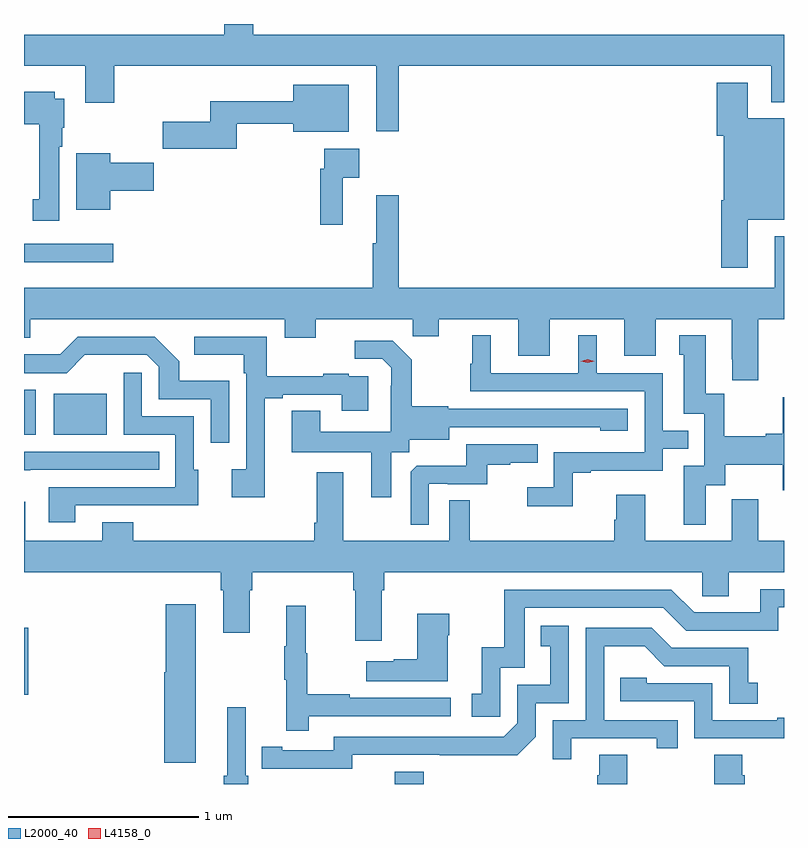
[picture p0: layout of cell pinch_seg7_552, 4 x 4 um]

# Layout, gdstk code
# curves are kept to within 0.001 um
import gdstk
lib = gdstk.Library(unit=1e-6, precision=1e-09)
def R(c, l, rs):  # rectangles x0, y0, x1, y1
    for r in rs: c.add(gdstk.rectangle(r[:2], r[2:], *l))
def P(c, l, *ps):  # polygons
    for p in ps: c.add(gdstk.Polygon(p, *l))
L2000_40 = (2000, 40)
L4158_0 = (4158, 0)

pinch_seg7_552 = lib.new_cell('pinch_seg7_552')
R(pinch_seg7_552, L2000_40, [(148.796,1047.453,148.949,1047.517), (146.845,1047.923,146.867,1048.276), (146.845,1049.291,146.908,1049.527), (147.002,1049.291,147.28,1049.506), (146.845,1050.2,147.316,1050.297)])
P(pinch_seg7_552, L2000_40, [(148.817,1051.232),(150.779,1051.232),(150.779,1051.042),(150.845,1051.042),(150.845,1051.396),(148.051,1051.396),(148.051,1051.453),(147.899,1051.453),(147.899,1051.396),(146.845,1051.396),(146.845,1051.232),(147.167,1051.232),(147.167,1051.038),(147.32,1051.038),(147.32,1051.232),(148.7,1051.232),(148.7,1050.888),(148.817,1050.888)],
  [(150.655,1050.422),(150.845,1050.422),(150.845,1050.957),(150.655,1050.957),(150.655,1051.144),(150.491,1051.144),(150.491,1050.864),(150.527,1050.864),(150.527,1050.526),(150.515,1050.526),(150.515,1050.171),(150.655,1050.171)],
  [(147.964,1050.928),(148.262,1050.928),(148.262,1050.887),(148.555,1050.887),(148.555,1051.132),(148.262,1051.132),(148.262,1051.046),(147.824,1051.046),(147.824,1050.939),(147.576,1050.939),(147.576,1050.797),(147.964,1050.797)],
  [(147.031,1050.806),(147.046,1050.806),(147.046,1050.906),(147.058,1050.906),(147.058,1051.06),(147.007,1051.06),(147.007,1051.096),(146.845,1051.096),(146.845,1050.926),(146.924,1050.926),(146.924,1050.53),(146.891,1050.53),(146.891,1050.417),(147.031,1050.417)],
  [(148.523,1050.644),(148.609,1050.644),(148.609,1050.796),(148.425,1050.796),(148.425,1050.692),(148.405,1050.692),(148.405,1050.396),(148.523,1050.396)],
  [(147.298,1050.575),(147.529,1050.575),(147.529,1050.722),(147.298,1050.722),(147.298,1050.772),(147.119,1050.772),(147.119,1050.476),(147.298,1050.476)],
  [(150.709,1049.9),(150.845,1049.9),(150.845,1050.337),(150.797,1050.337),(150.797,1050.064),(148.817,1050.064),(148.817,1050.553),(148.7,1050.553),(148.7,1050.3),(148.681,1050.3),(148.681,1050.064),(146.845,1050.064),(146.845,1049.802),(146.878,1049.802),(146.878,1049.9),(148.217,1049.9),(148.217,1049.801),(148.381,1049.801),(148.381,1049.9),(148.891,1049.9),(148.891,1049.81),(149.029,1049.81),(149.029,1049.9),(149.447,1049.9),(149.447,1049.706),(149.611,1049.706),(149.611,1049.9),(150.005,1049.9),(150.005,1049.706),(150.169,1049.706),(150.169,1049.9),(150.569,1049.9),(150.569,1049.689),(150.572,1049.689),(150.572,1049.577),(150.709,1049.577)],
  [(149.733,1049.091),(149.827,1049.091),(149.827,1049.103),(150.207,1049.103),(150.207,1049.217),(150.341,1049.217),(150.341,1049.313),(150.207,1049.313),(150.207,1049.616),(149.86,1049.616),(149.86,1049.815),(149.762,1049.815),(149.762,1049.616),(149.302,1049.616),(149.302,1049.815),(149.204,1049.815),(149.204,1049.664),(149.193,1049.664),(149.193,1049.52),(150.111,1049.52),(150.111,1049.199),(149.634,1049.199),(149.634,1049.014),(149.493,1049.014),(149.493,1048.916),(149.733,1048.916)],
  [(150.433,1049.026),(150.535,1049.026),(150.535,1049.132),(150.838,1049.132),(150.838,1048.998),(150.845,1048.998),(150.845,1049.489),(150.838,1049.489),(150.838,1049.297),(150.749,1049.297),(150.749,1049.284),(150.531,1049.284),(150.531,1049.507),(150.433,1049.507),(150.433,1049.815),(150.293,1049.815),(150.293,1049.712),(150.317,1049.712),(150.317,1049.403),(150.426,1049.403),(150.426,1049.127),(150.317,1049.127),(150.317,1048.818),(150.433,1048.818)],
  [(148.111,1049.484),(148.207,1049.484),(148.207,1049.502),(148.517,1049.502),(148.517,1049.418),(148.657,1049.418),(148.657,1049.598),(148.553,1049.598),(148.553,1049.611),(148.421,1049.611),(148.421,1049.6),(148.123,1049.6),(148.123,1049.808),(147.741,1049.808),(147.741,1049.711),(148.002,1049.711),(148.002,1049.615),(148.014,1049.615),(148.014,1049.11),(147.939,1049.11),(147.939,1048.962),(148.111,1048.962)],
  [(147.924,1049.575),(147.663,1049.575),(147.663,1049.678),(147.532,1049.808),(147.129,1049.808),(147.035,1049.714),(146.845,1049.714),(146.845,1049.616),(147.069,1049.616),(147.164,1049.711),(147.492,1049.712),(147.555,1049.649),(147.555,1049.478),(147.828,1049.478),(147.828,1049.25),(147.924,1049.25)],
  [(148.777,1049.2),(148.872,1049.2),(148.872,1049.264),(149.083,1049.264),(149.083,1049.331),(149.877,1049.33),(149.877,1049.312),(150.022,1049.312),(150.022,1049.427),(149.079,1049.427),(149.079,1049.44),(148.887,1049.44),(148.887,1049.685),(148.787,1049.785),(148.587,1049.785),(148.587,1049.691),(148.731,1049.691),(148.778,1049.644),(148.778,1049.549),(148.776,1049.549),(148.776,1049.308),(148.405,1049.308),(148.405,1049.417),(148.253,1049.417),(148.253,1049.198),(148.673,1049.198),(148.673,1048.962),(148.777,1048.962)],
  [(147.115,1048.92),(147.545,1048.92),(147.545,1048.919),(147.763,1048.919),(147.763,1049.106),(147.738,1049.106),(147.738,1049.388),(147.465,1049.388),(147.465,1049.617),(147.369,1049.617),(147.369,1049.292),(147.642,1049.292),(147.642,1049.016),(146.975,1049.016),(146.975,1048.83),(147.115,1048.83)],
  [(148.974,1049.034),(149.074,1049.034),(149.074,1049.031),(149.282,1049.031),(149.282,1049.133),(149.405,1049.133),(149.405,1049.144),(149.549,1049.144),(149.549,1049.241),(149.172,1049.241),(149.172,1049.129),(148.913,1049.129),(148.881,1049.097),(148.881,1048.817),(148.974,1048.817)],
  [(146.879,1049.106),(147.557,1049.106),(147.557,1049.202),(146.845,1049.202),(146.845,1049.105),(146.879,1049.105)],
  [(146.845,1048.939),(146.845,1048.568),(147.881,1048.568),(147.881,1048.472),(147.893,1048.472),(147.893,1048.248),(148.033,1048.248),(148.033,1048.472),(148.046,1048.472),(148.046,1048.568),(148.577,1048.568),(148.577,1048.472),(148.589,1048.472),(148.589,1048.206),(148.729,1048.206),(148.729,1048.472),(148.742,1048.472),(148.742,1048.568),(150.414,1048.568),(150.414,1048.441),(150.553,1048.441),(150.553,1048.568),(150.845,1048.568),(150.845,1048.732),(150.709,1048.732),(150.709,1048.951),(150.569,1048.951),(150.569,1048.732),(150.115,1048.732),(150.115,1048.975),(149.963,1048.975),(149.963,1048.845),(149.951,1048.845),(149.951,1048.732),(149.191,1048.732),(149.191,1048.946),(149.082,1048.946),(149.082,1048.732),(148.525,1048.732),(148.525,1049.095),(148.385,1049.095),(148.385,1048.828),(148.373,1048.828),(148.373,1048.732),(147.421,1048.732),(147.421,1048.831),(147.257,1048.831),(147.257,1048.732),(146.851,1048.732),(146.851,1048.939)],
  [(149.352,1048.065),(149.481,1048.065),(149.481,1048.38),(150.21,1048.38),(150.33,1048.26),(150.816,1048.26),(150.816,1048.383),(150.845,1048.383),(150.845,1048.479),(150.719,1048.479),(150.719,1048.356),(150.372,1048.356),(150.252,1048.476),(149.373,1048.476),(149.373,1048.174),(149.255,1048.174),(149.255,1047.927),(149.202,1047.927),(149.202,1047.807),(149.352,1047.807)],
  [(147.748,1048.399),(147.59,1048.399),(147.59,1048.041),(147.584,1048.041),(147.584,1047.564),(147.748,1047.564)],
  [(148.343,1047.81),(149.092,1047.81),(149.092,1047.906),(148.559,1047.906),(148.559,1047.926),(148.336,1047.926),(148.336,1048.14),(148.328,1048.14),(148.328,1048.39),(148.226,1048.39),(148.226,1048.177),(148.215,1048.177),(148.215,1048.003),(148.226,1048.003),(148.226,1047.732),(148.343,1047.732)],
  [(149.074,1048.235),(149.082,1048.235),(149.082,1048.348),(148.916,1048.348),(148.916,1048.109),(148.79,1048.109),(148.79,1048.099),(148.647,1048.099),(148.647,1047.995),(149.074,1047.995)],
  [(148.572,1047.606),(149.44,1047.605),(149.538,1047.702),(149.538,1047.879),(149.712,1047.879),(149.712,1048.285),(149.566,1048.285),(149.566,1048.179),(149.615,1048.179),(149.615,1047.975),(149.442,1047.975),(149.442,1047.774),(149.37,1047.702),(148.476,1047.702),(148.476,1047.63),(148.204,1047.63),(148.204,1047.65),(148.096,1047.65),(148.096,1047.534),(148.572,1047.533)],
  [(149.725,1047.693),(150.176,1047.693),(150.176,1047.642),(150.287,1047.642),(150.287,1047.789),(149.898,1047.789),(149.898,1048.178),(150.112,1048.178),(150.216,1048.074),(150.558,1048.074),(150.558,1047.876),(150.706,1047.876),(150.706,1047.985),(150.657,1047.985),(150.657,1048.17),(150.253,1048.17),(150.148,1048.275),(149.802,1048.275),(149.802,1047.789),(149.628,1047.789),(149.628,1047.582),(149.725,1047.582)],
  [(150.845,1047.802),(150.809,1047.802),(150.809,1047.789),(150.468,1047.789),(150.468,1047.984),(150.123,1047.984),(150.123,1048.011),(149.983,1048.011),(149.983,1047.888),(150.372,1047.888),(150.372,1047.693),(150.845,1047.693)],
  [(148.025,1047.496),(148.011,1047.496),(148.011,1047.856),(147.914,1047.856),(147.914,1047.496),(147.895,1047.496),(147.895,1047.453),(148.025,1047.453)],
  [(150.021,1047.608),(149.873,1047.608),(149.873,1047.498),(149.861,1047.498),(149.861,1047.453),(150.021,1047.453)],
  [(150.638,1047.498),(150.625,1047.498),(150.625,1047.608),(150.478,1047.608),(150.478,1047.453),(150.638,1047.453)])
P(pinch_seg7_552, L4158_0, [(149.811,1049.669),(149.775,1049.678),(149.775,1049.679),(149.775,1049.679),(149.811,1049.689),(149.846,1049.679),(149.847,1049.679),(149.846,1049.678)])

lib.write_gds('pinch_seg7_552.gds')
